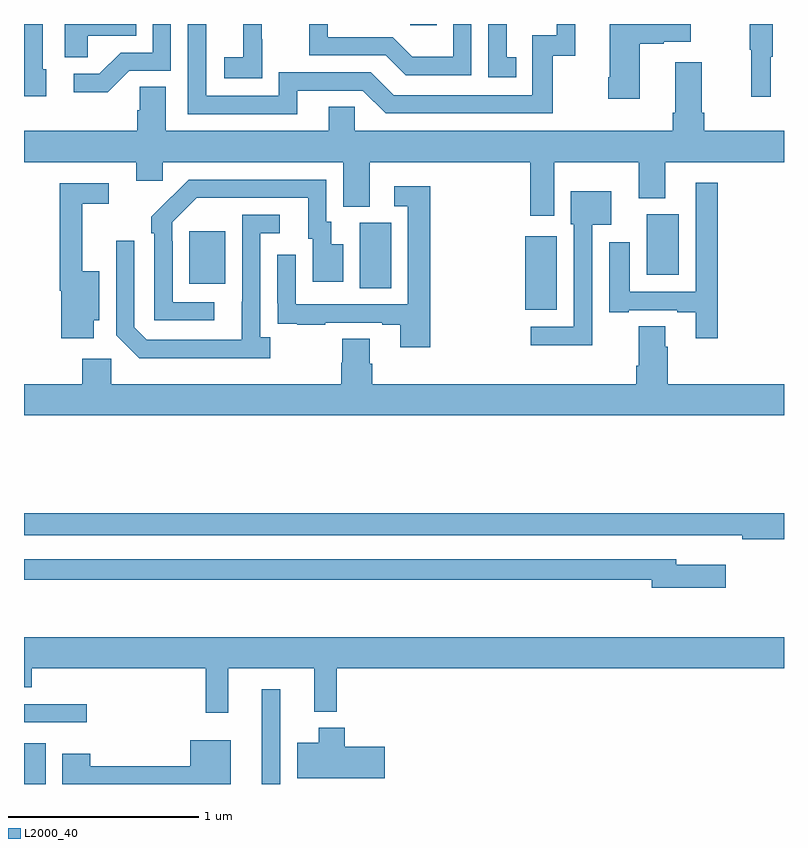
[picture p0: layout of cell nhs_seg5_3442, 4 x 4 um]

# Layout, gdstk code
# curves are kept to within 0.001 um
import gdstk
lib = gdstk.Library(unit=1e-6, precision=1e-09)
def R(c, l, rs):  # rectangles x0, y0, x1, y1
    for r in rs: c.add(gdstk.rectangle(r[:2], r[2:], *l))
def P(c, l, *ps):  # polygons
    for p in ps: c.add(gdstk.Polygon(p, *l))
L2000_40 = (2000, 40)

nhs_seg5_3442 = lib.new_cell('nhs_seg5_3442')
R(nhs_seg5_3442, L2000_40, [(313,874.799,313.114,875.014), (314.252,874.799,314.349,875.299), (313,875.124,313.33,875.22), (315.638,877.295,315.805,877.681), (314.768,877.408,314.932,877.752), (313.871,877.433,314.059,877.708), (316.277,877.478,316.447,877.798), (315.033,878.793,315.173,878.799)])
P(nhs_seg5_3442, L2000_40, [(313.117,878.562),(313.098,878.562),(313.098,878.799),(313.002,878.799),(313.002,878.418),(313.117,878.418)],
  [(313.554,878.553),(313.773,878.553),(313.773,878.799),(313.677,878.799),(313.677,878.649),(313.508,878.649),(313.397,878.538),(313.263,878.538),(313.263,878.441),(313.441,878.441)],
  [(313.335,878.738),(313.592,878.738),(313.592,878.799),(313.214,878.799),(313.214,878.623),(313.335,878.623)],
  [(315.354,878.799),(315.258,878.799),(315.258,878.626),(315.044,878.626),(314.94,878.73),(314.598,878.73),(314.598,878.799),(314.5,878.799),(314.5,878.634),(314.903,878.634),(315.008,878.529),(315.354,878.529)],
  [(315.59,878.625),(315.541,878.625),(315.541,878.799),(315.444,878.799),(315.444,878.52),(315.59,878.52)],
  [(314.253,878.719),(314.252,878.719),(314.252,878.799),(314.153,878.799),(314.153,878.623),(314.055,878.623),(314.055,878.513),(314.253,878.513)],
  [(316.931,878.627),(316.942,878.627),(316.942,878.799),(316.821,878.799),(316.821,878.664),(316.828,878.664),(316.828,878.415),(316.931,878.415)],
  [(316.24,878.695),(316.367,878.695),(316.367,878.705),(316.51,878.705),(316.51,878.799),(316.082,878.799),(316.082,878.518),(316.075,878.518),(316.075,878.406),(316.24,878.406)],
  [(314.437,878.448),(314.784,878.448),(314.904,878.328),(315.784,878.328),(315.784,878.631),(315.902,878.631),(315.902,878.799),(315.804,878.799),(315.804,878.739),(315.675,878.739),(315.675,878.424),(314.946,878.424),(314.826,878.544),(314.34,878.544),(314.34,878.421),(313.959,878.421),(313.959,878.799),(313.863,878.799),(313.863,878.325),(314.437,878.325)],
  [(315.79,878.072),(316.235,878.072),(316.235,877.883),(316.375,877.883),(316.375,878.072),(317,878.072),(317,878.236),(316.58,878.236),(316.58,878.332),(316.567,878.332),(316.567,878.599),(316.427,878.599),(316.427,878.332),(316.415,878.332),(316.415,878.236),(314.742,878.236),(314.742,878.363),(314.603,878.363),(314.603,878.236),(313.747,878.236),(313.747,878.468),(313.608,878.468),(313.608,878.345),(313.595,878.345),(313.595,878.236),(313,878.236),(313,878.072),(313.592,878.072),(313.592,877.974),(313.731,877.974),(313.731,878.072),(314.681,878.072),(314.681,877.837),(314.821,877.837),(314.821,878.072),(315.665,878.072),(315.665,877.791),(315.79,877.791)],
  [(314.002,877.335),(313.782,877.335),(313.782,877.655),(313.779,877.655),(313.779,877.755),(313.908,877.884),(314.495,877.884),(314.495,877.668),(314.519,877.668),(314.519,877.443),(314.68,877.443),(314.68,877.639),(314.617,877.639),(314.617,877.758),(314.592,877.758),(314.592,877.98),(313.868,877.98),(313.671,877.785),(313.671,877.697),(313.686,877.697),(313.686,877.239),(314.002,877.239)],
  [(316.652,877.963),(316.536,877.963),(316.536,877.389),(316.189,877.389),(316.189,877.651),(316.079,877.651),(316.079,877.281),(316.183,877.281),(316.183,877.293),(316.439,877.293),(316.439,877.281),(316.535,877.281),(316.535,877.146),(316.652,877.146)],
  [(313.366,877.241),(313.396,877.241),(313.396,877.498),(313.307,877.498),(313.307,877.854),(313.447,877.854),(313.447,877.962),(313.189,877.962),(313.189,877.394),(313.196,877.394),(313.196,877.146),(313.366,877.146)],
  [(315.137,877.945),(314.949,877.945),(314.949,877.839),(315.021,877.839),(315.021,877.323),(314.43,877.323),(314.43,877.585),(314.334,877.585),(314.334,877.33),(314.335,877.33),(314.335,877.221),(314.437,877.221),(314.437,877.215),(314.585,877.215),(314.585,877.227),(314.885,877.227),(314.885,877.215),(314.981,877.215),(314.981,877.098),(315.137,877.098)],
  [(315.99,877.742),(316.09,877.742),(316.09,877.918),(315.878,877.918),(315.878,877.746),(315.894,877.746),(315.894,877.206),(315.666,877.206),(315.666,877.109),(315.99,877.109)],
  [(314.296,877.15),(314.244,877.15),(314.244,877.698),(314.347,877.698),(314.347,877.794),(314.148,877.794),(314.147,877.137),(313.647,877.137),(313.581,877.203),(313.581,877.657),(313.485,877.657),(313.485,877.161),(313.606,877.04),(314.296,877.04)],
  [(316.375,877.1),(316.375,877.208),(316.235,877.208),(316.235,877),(316.223,877),(316.223,876.904),(314.834,876.904),(314.834,877.01),(314.821,877.01),(314.821,877.142),(314.674,877.142),(314.674,877.017),(314.669,877.017),(314.669,876.904),(313.458,876.904),(313.458,877.036),(313.307,877.036),(313.307,876.904),(313,876.904),(313,876.74),(317,876.74),(317,876.904),(316.388,876.904),(316.388,877.1)],
  [(317,876.224),(313,876.224),(313,876.108),(316.528,876.108),(316.528,876.107),(316.78,876.107),(316.78,876.088),(317,876.088)],
  [(316.693,875.953),(316.432,875.953),(316.432,875.982),(313,875.982),(313,875.874),(316.304,875.874),(316.304,875.831),(316.693,875.831)],
  [(314.075,875.408),(314.528,875.408),(314.528,875.18),(314.645,875.18),(314.645,875.408),(317,875.408),(317,875.572),(313,875.572),(313,875.309),(313.04,875.309),(313.04,875.408),(313.957,875.408),(313.957,875.175),(314.075,875.175)],
  [(314.899,874.995),(314.687,874.995),(314.687,875.095),(314.552,875.095),(314.552,875.017),(314.438,875.017),(314.438,874.829),(314.899,874.829)],
  [(314.089,875.029),(313.874,875.029),(313.874,874.892),(313.349,874.892),(313.349,874.957),(313.202,874.957),(313.202,874.799),(314.089,874.799)])

lib.write_gds('nhs_seg5_3442.gds')
